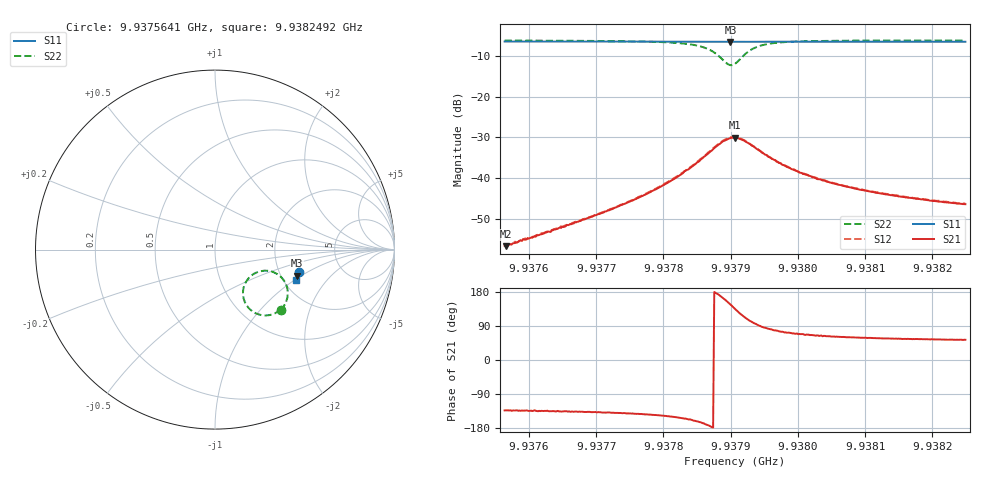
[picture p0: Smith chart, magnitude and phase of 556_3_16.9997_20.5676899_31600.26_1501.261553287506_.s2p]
#  HZ  S  RI  R  50.00
! Rohde & Schwarz Vector Network Analyzer
! Rohde-Schwarz,ZNB20-2Port,1311601062101988,3.16
! Created: UTC 3/20/2024, 11:17:01 PM
! freq[Hz]  re:S11  im:S11  re:S21  im:S21  re:S12  im:S12  re:S22  im:S22
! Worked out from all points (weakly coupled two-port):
!   401 points, 9.9375641 GHz to 9.9382492 GHz, reference 50 ohm
!   highest |S21| = -30.00 dB at 9.9379066 GHz (marker M1); lowest = -56.8 dB at 9.9375658 GHz (marker M2)
!   lowest |S11| = -6.4 dB at 9.9378998 GHz (marker M3), VSWR 2.83, Z = 121 - j45.8 ohm
!   |S11| at or under -10 dB: nowhere
!   |S22| runs from -12.2 to -6.1 dB; largest |S21 - S12| = 0.0014
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9.9375641e9  0.4658 -0.1258  -0.000999 -0.00107  -0.00103 -0.00105  0.3653 -0.3351
9.93756582e9  0.4658 -0.1259  -0.000981 -0.00106  -0.00103 -0.00107  0.3652 -0.3353
9.93767885e9  0.4629 -0.1334  -0.00219 -0.00209  -0.00224 -0.00207  0.3487 -0.347
9.93775078e9  0.4611 -0.1384  -0.00401 -0.00324  -0.00413 -0.00319  0.3291 -0.3572
9.9377936e9  0.4598 -0.1412  -0.0063 -0.00425  -0.00651 -0.00425  0.3071 -0.3642
9.93782614e9  0.4586 -0.1436  -0.00983 -0.00505  -0.0101 -0.00499  0.2765 -0.3668
9.93785868e9  0.457 -0.1458  -0.0172 -0.00407  -0.0176 -0.00386  0.2181 -0.3502
9.93787238e9  0.4561 -0.1464  -0.0218 -0.00105  -0.0226 -0.000586  0.1827 -0.3197
9.93788437e9  0.4551 -0.1467  -0.0261 0.00464  -0.0267 0.00568  0.1583 -0.2665
9.93789465e9  0.4546 -0.1464  -0.027 0.0126  -0.0273 0.0139  0.1626 -0.2013
9.93789978e9  0.4545 -0.1461  -0.0259 0.0172  -0.0258 0.0184  0.1803 -0.1684
9.93790663e9  0.4545 -0.1458  -0.0223 0.0224  -0.0217 0.0234  0.2178 -0.1343
9.9379152e9  0.455 -0.1458  -0.0155 0.0258  -0.0149 0.0268  0.2751 -0.1173
9.93792719e9  0.4558 -0.1463  -0.00701 0.0259  -0.00616 0.0262  0.3417 -0.1333
9.93794431e9  0.4563 -0.1477  9.59e-05 0.0215  0.000715 0.0215  0.3886 -0.1797
9.93795973e9  0.4562 -0.1494  0.00272 0.0175  0.00331 0.0175  0.4025 -0.2147
9.93798028e9  0.456 -0.1509  0.00423 0.0136  0.00449 0.0136  0.4056 -0.2471
9.93802138e9  0.4552 -0.1541  0.0042 0.0093  0.00459 0.00933  0.3991 -0.2825
9.93806934e9  0.4539 -0.1575  0.0039 0.00691  0.00406 0.00689  0.3903 -0.3034
9.93813613e9  0.452 -0.1619  0.00339 0.00519  0.00355 0.00518  0.3804 -0.3191
9.9381995e9  0.4503 -0.1661  0.00301 0.00431  0.00317 0.00427  0.3731 -0.3284
9.93824916e9  0.4488 -0.1694  0.00285 0.00381  0.00293 0.00381  0.3682 -0.3343
